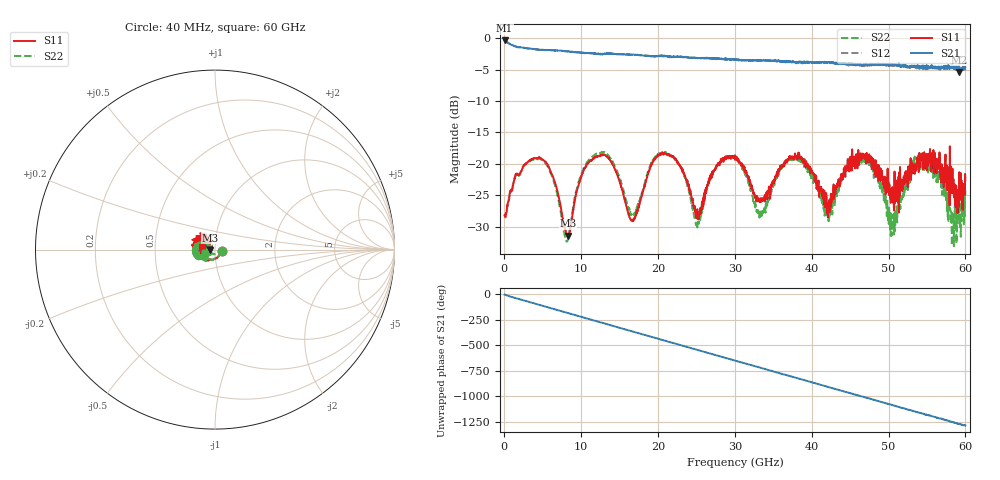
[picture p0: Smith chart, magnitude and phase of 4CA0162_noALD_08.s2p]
! File created by 'SoftPlot +Plus+ Measurement Management Software'
! SoftPlot +Plus+ Measurement Management Software
! Start 40.000000 MHz  Stop 60.000000 GHz  Points 1601
# MHZ S RI R 50
! S-Parameter data, F S11 S21 S12 S22
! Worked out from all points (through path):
!   1601 points, 40 MHz to 60 GHz, reference 50 ohm
!   highest |S21| = -0.38 dB at 40 MHz (marker M1); lowest = -5.4 dB at 59.21 GHz (marker M2)
!   group delay of S21, straight-line fit = 59.4 ps
!   lowest |S11| = -31.4 dB at 8.284 GHz (marker M3), VSWR 1.06, Z = 47.4 - j0.254 ohm
!   |S11| at or under -10 dB: start of sweep to end of sweep
!   |S22| runs from -33.1 to -18.1 dB; largest |S21 - S12| = 0.063
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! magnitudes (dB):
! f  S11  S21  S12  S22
! 40 MHz  -28.2  -0.4  -0.4  -28.2
! 1.502 GHz  -21.8  -1.3  -1.3  -21.7
! 4.724 GHz  -19.1  -1.9  -1.9  -19.2
! 8.284 GHz  -31.4  -2.1  -2.1  -31.9
! 10.05 GHz  -22.0  -2.3  -2.3  -21.5
! 13.31 GHz  -18.8  -2.4  -2.5  -18.4
! 16.68 GHz  -29.1  -2.6  -2.6  -28.2
! 20.05 GHz  -18.7  -2.9  -2.8  -18.4
! 22.94 GHz  -20.4  -2.9  -3.0  -20.6
! 25.15 GHz  -28.7  -3.2  -3.2  -29.4
! 27.4 GHz  -21.0  -3.2  -3.3  -21.0
! 30.02 GHz  -19.4  -3.3  -3.4  -19.0
! 33.24 GHz  -26.1  -3.5  -3.5  -28.4
! 36.84 GHz  -19.4  -3.8  -3.8  -19.4
! 40.03 GHz  -21.3  -3.8  -3.8  -22.0
! 42.16 GHz  -26.2  -3.9  -3.8  -27.8
! 44.79 GHz  -19.8  -4.1  -4.4  -20.4
! 47.07 GHz  -19.9  -4.4  -4.4  -19.3
! 50.03 GHz  -23.8  -4.3  -4.3  -29.5
! 54.12 GHz  -19.5  -4.5  -4.7  -20.8
! 59.21 GHz  -21.3  -5.4  -4.6  -27.1
! 60 GHz  -22.6  -4.7  -5.2  -25.0
